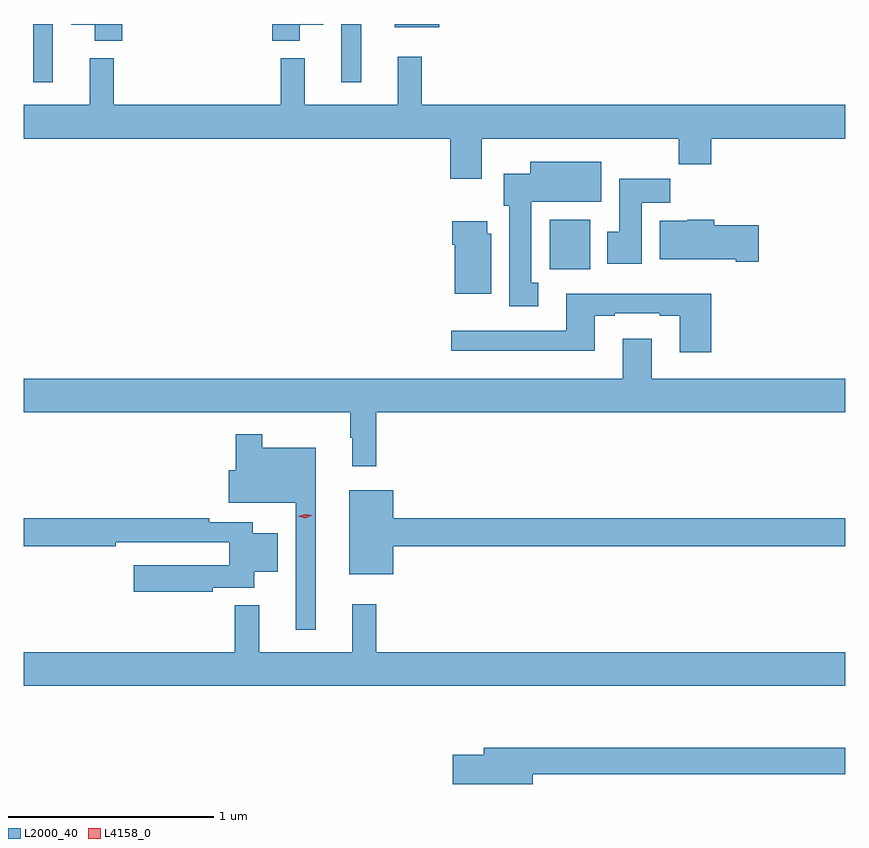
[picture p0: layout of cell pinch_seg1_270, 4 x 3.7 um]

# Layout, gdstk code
import gdstk
lib = gdstk.Library(unit=1e-6, precision=1e-09)
def R(c, l, rs):  # rectangles x0, y0, x1, y1
    for r in rs: c.add(gdstk.rectangle(r[:2], r[2:], *l))
def P(c, l, *ps):  # polygons
    for p in ps: c.add(gdstk.Polygon(p, *l))
L2000_40 = (2000, 40)
L4158_0 = (4158, 0)

pinch_seg1_270 = lib.new_cell('pinch_seg1_270')
R(pinch_seg1_270, L2000_40, [(917.72,555.092,917.917,555.334), (915.206,556.002,915.303,556.286), (916.707,556.002,916.804,556.286), (916.967,556.271,917.182,556.286)])
P(pinch_seg1_270, L2000_40, [(915.641,556.286),(915.392,556.286),(915.392,556.283),(915.506,556.283),(915.506,556.205),(915.641,556.205)],
  [(916.504,556.283),(916.618,556.283),(916.618,556.286),(916.37,556.286),(916.37,556.205),(916.504,556.205)],
  [(917.389,555.728),(918.349,555.728),(918.349,555.604),(918.506,555.604),(918.506,555.728),(919.16,555.728),(919.16,555.892),(917.099,555.892),(917.099,556.126),(916.982,556.126),(916.982,555.892),(916.529,555.892),(916.529,556.12),(916.411,556.12),(916.411,555.892),(915.599,555.892),(915.599,556.12),(915.482,556.12),(915.482,555.892),(915.16,555.892),(915.16,555.728),(917.237,555.728),(917.237,555.534),(917.389,555.534)],
  [(917.665,555.026),(917.632,555.026),(917.632,555.422),(917.971,555.422),(917.971,555.616),(917.627,555.616),(917.627,555.556),(917.498,555.556),(917.498,555.402),(917.525,555.402),(917.525,554.913),(917.665,554.913)],
  [(918.169,555.416),(918.308,555.416),(918.308,555.534),(918.059,555.534),(918.059,555.276),(918.002,555.276),(918.002,555.12),(918.169,555.12)],
  [(918.739,555.306),(918.521,555.306),(918.521,555.334),(918.39,555.334),(918.39,555.328),(918.257,555.328),(918.257,555.14),(918.626,555.14),(918.626,555.128),(918.739,555.128)],
  [(917.437,555.264),(917.416,555.264),(917.416,555.325),(917.246,555.325),(917.246,555.212),(917.258,555.212),(917.258,554.972),(917.437,554.972)],
  [(918.506,554.974),(917.801,554.974),(917.801,554.793),(917.241,554.793),(917.241,554.696),(917.941,554.696),(917.941,554.865),(918.037,554.865),(918.037,554.877),(918.257,554.877),(918.257,554.865),(918.353,554.865),(918.353,554.688),(918.506,554.688)],
  [(916.877,554.396),(919.16,554.396),(919.16,554.56),(918.217,554.56),(918.217,554.755),(918.077,554.755),(918.077,554.56),(915.16,554.56),(915.16,554.396),(916.749,554.396),(916.749,554.273),(916.76,554.273),(916.76,554.133),(916.877,554.133)],
  [(916.582,554.224),(916.321,554.224),(916.321,554.29),(916.192,554.29),(916.192,554.113),(916.158,554.113),(916.158,553.955),(916.485,553.955),(916.485,553.338),(916.582,553.338)],
  [(916.96,553.744),(919.16,553.744),(919.16,553.88),(916.96,553.88),(916.96,554.017),(916.745,554.017),(916.745,553.607),(916.96,553.607)],
  [(916.08,553.541),(916.282,553.541),(916.282,553.619),(916.396,553.619),(916.396,553.807),(916.276,553.807),(916.276,553.86),(916.064,553.86),(916.064,553.88),(915.16,553.88),(915.16,553.744),(915.608,553.744),(915.608,553.764),(916.16,553.764),(916.16,553.651),(915.696,553.651),(915.696,553.522),(916.08,553.522)],
  [(919.16,553.228),(916.877,553.228),(916.877,553.462),(916.76,553.462),(916.76,553.228),(916.307,553.228),(916.307,553.456),(916.189,553.456),(916.189,553.228),(915.16,553.228),(915.16,553.064),(919.16,553.064)],
  [(917.638,552.634),(919.16,552.634),(919.16,552.763),(917.399,552.763),(917.399,552.729),(917.25,552.729),(917.25,552.587),(917.638,552.587)])
P(pinch_seg1_270, L4158_0, [(916.532,553.881),(916.495,553.889),(916.495,553.889),(916.495,553.889),(916.53,553.901),(916.566,553.894),(916.566,553.894),(916.566,553.894)])

lib.write_gds('pinch_seg1_270.gds')
